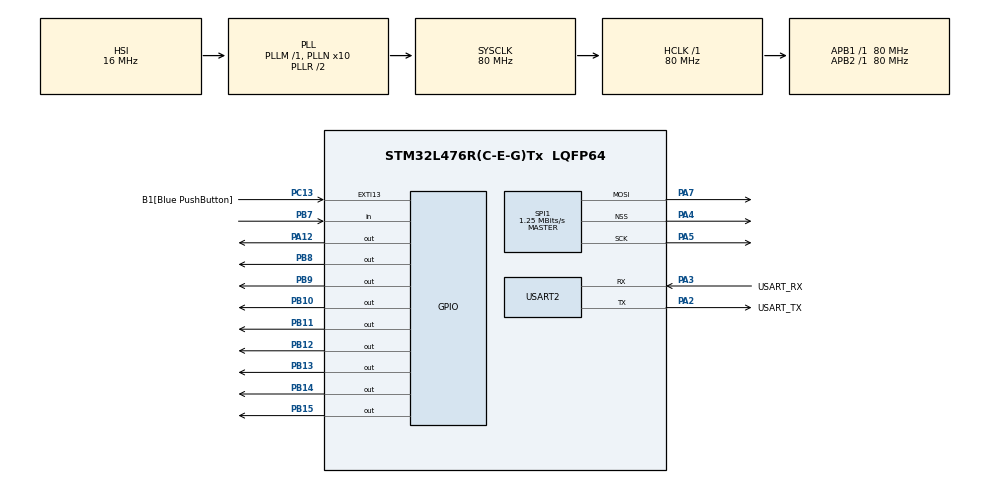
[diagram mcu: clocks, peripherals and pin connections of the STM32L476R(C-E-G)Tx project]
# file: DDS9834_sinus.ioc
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Mcu.Family=STM32L4
Mcu.Name=STM32L476R(C-E-G)Tx
Mcu.Package=LQFP64
NVIC.EXTI15_10_IRQn=true\:0\:0\:false\:false\:true\:true\:true
NVIC.PriorityGroup=NVIC_PRIORITYGROUP_4
PA12.Signal=GPIO_Output
PA13\ (JTMS-SWDIO).GPIO_Label=TMS
PA13\ (JTMS-SWDIO).Mode=Serial_Wire
PA13\ (JTMS-SWDIO).Signal=SYS_JTMS-SWDIO
PA14\ (JTCK-SWCLK).GPIO_Label=TCK
PA14\ (JTCK-SWCLK).Mode=Serial_Wire
PA14\ (JTCK-SWCLK).Signal=SYS_JTCK-SWCLK
PA2.GPIO_Label=USART_TX
PA2.GPIO_Mode=GPIO_MODE_AF_PP
PA2.GPIO_PuPd=GPIO_NOPULL
PA2.GPIO_Speed=GPIO_SPEED_FREQ_VERY_HIGH
PA2.Mode=Asynchronous
PA2.Signal=USART2_TX
PA3.GPIO_Label=USART_RX
PA3.GPIO_Mode=GPIO_MODE_AF_PP
PA3.GPIO_PuPd=GPIO_NOPULL
PA3.GPIO_Speed=GPIO_SPEED_FREQ_VERY_HIGH
PA3.Mode=Asynchronous
PA3.Signal=USART2_RX
PA4.Mode=NSS_Signal_Hard_Output
PA4.Signal=SPI1_NSS
PA5.Mode=TX_Only_Simplex_Unidirect_Master
PA5.Signal=SPI1_SCK
PA7.Mode=TX_Only_Simplex_Unidirect_Master
PA7.Signal=SPI1_MOSI
PB10.Signal=GPIO_Output
PB11.Signal=GPIO_Output
PB12.GPIO_PuPd=GPIO_NOPULL
PB12.PinState=GPIO_PIN_SET
PB12.Signal=GPIO_Output
PB13.Signal=GPIO_Output
PB14.Signal=GPIO_Output
PB15.Signal=GPIO_Output
PB3\ (JTDO-TRACESWO).GPIO_Label=SWO
PB3\ (JTDO-TRACESWO).Signal=SYS_JTDO-SWO
PB7.Signal=GPIO_Input
PB8.Signal=GPIO_Output
PB9.Signal=GPIO_Output
PC13.GPIO_Label=B1[Blue PushButton]
PC13.Signal=GPXTI13
PC14-OSC32_IN\ (PC14).Mode=LSE-External-Oscillator
PC14-OSC32_IN\ (PC14).Signal=RCC_OSC32_IN
PC15-OSC32_OUT\ (PC15).Mode=LSE-External-Oscillator
PC15-OSC32_OUT\ (PC15).Signal=RCC_OSC32_OUT
PH0-OSC_IN\ (PH0).Signal=RCC_OSC_IN
PH1-OSC_OUT\ (PH1).Signal=RCC_OSC_OUT
ProjectManager.HeapSize=0x200
ProjectManager.StackSize=0x400
ProjectManager.TargetToolchain=STM32CubeIDE
RCC.ADCFreq_Value=64000000
RCC.AHBFreq_Value=80000000
RCC.APB1Freq_Value=80000000
RCC.APB1TimFreq_Value=80000000
RCC.APB2Freq_Value=80000000
RCC.APB2TimFreq_Value=80000000
RCC.CortexFreq_Value=80000000
RCC.HCLKFreq_Value=80000000
RCC.HSE_VALUE=8000000
RCC.HSI_VALUE=16000000
RCC.MSI_VALUE=4000000
RCC.PLLN=10
RCC.PLLSourceVirtual=RCC_PLLSOURCE_HSI
RCC.PREFETCH_ENABLE=1
RCC.SYSCLKFreq_VALUE=80000000
RCC.SYSCLKSource=RCC_SYSCLKSOURCE_PLLCLK
RCC.USBFreq_Value=64000000
RCC.VCOOutputFreq_Value=160000000
SPI1.BaudRatePrescaler=SPI_BAUDRATEPRESCALER_64
SPI1.CLKPhase=SPI_PHASE_1EDGE
SPI1.CLKPolarity=SPI_POLARITY_HIGH
SPI1.CalculateBaudRate=1.25 MBits/s
SPI1.DataSize=SPI_DATASIZE_16BIT
SPI1.Direction=SPI_DIRECTION_2LINES
SPI1.Mode=SPI_MODE_MASTER
SPI1.VirtualNSS=VM_NSSHARD
SPI1.VirtualType=VM_MASTER
TIM6.Period=665
TIM6.Prescaler=1
USART2.VirtualMode-Asynchronous=VM_ASYNC
VP_TIM6_VS_ClockSourceINT.Mode=Enable_Timer
board=NUCLEO-L476RG

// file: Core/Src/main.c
/* USER CODE BEGIN Header */
/**
  ******************************************************************************
  * @file           : main.c
  * @brief          : Main program body
  ******************************************************************************
  * @attention
  *
  * <h2><center>&copy; Copyright (c) 2021 STMicroelectronics.
  * All rights reserved.</center></h2>
  *
  * This software component is licensed by ST under BSD 3-Clause license,
  * the "License"; You may not use this file except in compliance with the
  * License. You may obtain a copy of the License at:
  *                        opensource.org/licenses/BSD-3-Clause
  *
  ******************************************************************************
  */
/* USER CODE END Header */
#include "main.h"

/* USER CODE BEGIN Includes */

#include "math.h"

/* USER CODE END Includes */

SPI_HandleTypeDef hspi1;

TIM_HandleTypeDef htim6;

UART_HandleTypeDef huart2;

/* USER CODE BEGIN PV */

//int led = GPIO_PIN_5;
//int AD_FSYNC = GPIO_PIN_12; //FSYNK
//int AD_SDA = GPIO_PIN_10;
//int AD_SCLK = GPIO_PIN_11;

//SPI cable  : SDA to PA7 MOSI; CLK to PA5 SCK and FSY to PA5 SSEL
int AD_reset = GPIO_PIN_9;
int AD_FSEL = GPIO_PIN_8; // FST set a pin

int AD_PSK_sel = GPIO_PIN_7; //PB7

float AD_Crystal = 75000000.0; // 75MHz
int SINE = 0x2000;
int SQUARE = 0x2020;
int TRIANGLE = 0x2002;

float AD_FMult = 0.0;

long Freq = 2000;

int Sensor = 5005;

// manchester et BPSK variable
// Clock on GPIOA pin 12 and Data on GPIOA pin 11
int Data = 0xA6;  // data for Manchester et bpsk test
int BPSK = 0;
uint8_t Is_First_Captured = 0; // est-ce que c'est la 1er valeure capture ? 0=no , 1 = yes
int pointer = 0x80; // for manchester code
int debug=0;
int count = 0;

/* USER CODE END PV */

void SystemClock_Config(void);
static void MX_GPIO_Init(void);
static void MX_USART2_UART_Init(void);
static void MX_SPI1_Init(void);
static void MX_TIM6_Init(void);
/* USER CODE BEGIN PFP */
//void UpdateDDS (int);
void UpdateFreq(long,int);

/* USER CODE END PFP */

int main(void)
{

  /* MCU Configuration--------------------------------------------------------*/

  /* Reset of all peripherals, Initializes the Flash interface and the Systick. */
  HAL_Init();

  /* Configure the system clock */
  SystemClock_Config();

  /* Initialize all configured peripherals */
  MX_GPIO_Init();
  MX_USART2_UART_Init();
  MX_SPI1_Init();
  MX_TIM6_Init();
  /* USER CODE BEGIN 2 */
  /*
  HAL_GPIO_WritePin(GPIOB, AD_FSYNC, GPIO_PIN_SET);
  HAL_GPIO_WritePin(GPIOB, AD_SDA, GPIO_PIN_RESET);
  HAL_GPIO_WritePin(GPIOB, AD_SCLK, GPIO_PIN_SET);
  HAL_GPIO_WritePin(GPIOB, AD_FSEL, GPIO_PIN_RESET);

  //setup code
  UpdateDDS (0x2100);
  UpdateDDS (0x50C7);
  UpdateDDS (0x4000);
  UpdateDDS (0xC000);
  UpdateDDS (0x2000);

	HAL_Delay(500);

  UpdateFreq(Freq,SINE);
*/

  UpdateFreq(Freq,SINE);
  HAL_TIM_Base_Start_IT(&htim6);

  /* USER CODE END 2 */

  /* Infinite loop */
  while (1)
  {

  }
}

void SystemClock_Config(void)
{
  RCC_OscInitTypeDef RCC_OscInitStruct = {0};
  RCC_ClkInitTypeDef RCC_ClkInitStruct = {0};
  RCC_PeriphCLKInitTypeDef PeriphClkInit = {0};

  /** Initializes the RCC Oscillators according to the specified parameters
  * in the RCC_OscInitTypeDef structure.
  */
  RCC_OscInitStruct.OscillatorType = RCC_OSCILLATORTYPE_HSI;
  RCC_OscInitStruct.HSIState = RCC_HSI_ON;
  RCC_OscInitStruct.HSICalibrationValue = RCC_HSICALIBRATION_DEFAULT;
  RCC_OscInitStruct.PLL.PLLState = RCC_PLL_ON;
  RCC_OscInitStruct.PLL.PLLSource = RCC_PLLSOURCE_HSI;
  RCC_OscInitStruct.PLL.PLLM = 1;
  RCC_OscInitStruct.PLL.PLLN = 10;
  RCC_OscInitStruct.PLL.PLLP = RCC_PLLP_DIV7;
  RCC_OscInitStruct.PLL.PLLQ = RCC_PLLQ_DIV2;
  RCC_OscInitStruct.PLL.PLLR = RCC_PLLR_DIV2;
  if (HAL_RCC_OscConfig(&RCC_OscInitStruct) != HAL_OK)
  {
    Error_Handler();
  }
  /** Initializes the CPU, AHB and APB buses clocks
  */
  RCC_ClkInitStruct.ClockType = RCC_CLOCKTYPE_HCLK|RCC_CLOCKTYPE_SYSCLK
                              |RCC_CLOCKTYPE_PCLK1|RCC_CLOCKTYPE_PCLK2;
  RCC_ClkInitStruct.SYSCLKSource = RCC_SYSCLKSOURCE_PLLCLK;
  RCC_ClkInitStruct.AHBCLKDivider = RCC_SYSCLK_DIV1;
  RCC_ClkInitStruct.APB1CLKDivider = RCC_HCLK_DIV1;
  RCC_ClkInitStruct.APB2CLKDivider = RCC_HCLK_DIV1;

  if (HAL_RCC_ClockConfig(&RCC_ClkInitStruct, FLASH_LATENCY_4) != HAL_OK)
  {
    Error_Handler();
  }
  PeriphClkInit.PeriphClockSelection = RCC_PERIPHCLK_USART2;
  PeriphClkInit.Usart2ClockSelection = RCC_USART2CLKSOURCE_PCLK1;
  if (HAL_RCCEx_PeriphCLKConfig(&PeriphClkInit) != HAL_OK)
  {
    Error_Handler();
  }
  /** Configure the main internal regulator output voltage
  */
  if (HAL_PWREx_ControlVoltageScaling(PWR_REGULATOR_VOLTAGE_SCALE1) != HAL_OK)
  {
    Error_Handler();
  }
}

static void MX_SPI1_Init(void)
{

  /* SPI1 parameter configuration*/
  hspi1.Instance = SPI1;
  hspi1.Init.Mode = SPI_MODE_MASTER;
  hspi1.Init.Direction = SPI_DIRECTION_2LINES;
  hspi1.Init.DataSize = SPI_DATASIZE_16BIT;
  hspi1.Init.CLKPolarity = SPI_POLARITY_HIGH;
  hspi1.Init.CLKPhase = SPI_PHASE_1EDGE;
  hspi1.Init.NSS = SPI_NSS_HARD_OUTPUT;
  hspi1.Init.BaudRatePrescaler = SPI_BAUDRATEPRESCALER_64;
  hspi1.Init.FirstBit = SPI_FIRSTBIT_MSB;
  hspi1.Init.TIMode = SPI_TIMODE_DISABLE;
  hspi1.Init.CRCCalculation = SPI_CRCCALCULATION_DISABLE;
  hspi1.Init.CRCPolynomial = 7;
  hspi1.Init.CRCLength = SPI_CRC_LENGTH_DATASIZE;
  hspi1.Init.NSSPMode = SPI_NSS_PULSE_ENABLE;
  if (HAL_SPI_Init(&hspi1) != HAL_OK)
  {
    Error_Handler();
  }

}

static void MX_TIM6_Init(void)
{

  TIM_MasterConfigTypeDef sMasterConfig = {0};

  htim6.Instance = TIM6;
  htim6.Init.Prescaler = 1;
  htim6.Init.CounterMode = TIM_COUNTERMODE_UP;
  htim6.Init.Period = 665;
  htim6.Init.AutoReloadPreload = TIM_AUTORELOAD_PRELOAD_DISABLE;
  if (HAL_TIM_Base_Init(&htim6) != HAL_OK)
  {
    Error_Handler();
  }
  sMasterConfig.MasterOutputTrigger = TIM_TRGO_RESET;
  sMasterConfig.MasterSlaveMode = TIM_MASTERSLAVEMODE_DISABLE;
  if (HAL_TIMEx_MasterConfigSynchronization(&htim6, &sMasterConfig) != HAL_OK)
  {
    Error_Handler();
  }

}

static void MX_USART2_UART_Init(void)
{

  huart2.Instance = USART2;
  huart2.Init.BaudRate = 115200;
  huart2.Init.WordLength = UART_WORDLENGTH_8B;
  huart2.Init.StopBits = UART_STOPBITS_1;
  huart2.Init.Parity = UART_PARITY_NONE;
  huart2.Init.Mode = UART_MODE_TX_RX;
  huart2.Init.HwFlowCtl = UART_HWCONTROL_NONE;
  huart2.Init.OverSampling = UART_OVERSAMPLING_16;
  huart2.Init.OneBitSampling = UART_ONE_BIT_SAMPLE_DISABLE;
  huart2.AdvancedInit.AdvFeatureInit = UART_ADVFEATURE_NO_INIT;
  if (HAL_UART_Init(&huart2) != HAL_OK)
  {
    Error_Handler();
  }

}

static void MX_GPIO_Init(void)
{
  GPIO_InitTypeDef GPIO_InitStruct = {0};

  /* GPIO Ports Clock Enable */
  __HAL_RCC_GPIOC_CLK_ENABLE();
  __HAL_RCC_GPIOH_CLK_ENABLE();
  __HAL_RCC_GPIOA_CLK_ENABLE();
  __HAL_RCC_GPIOB_CLK_ENABLE();

  /*Configure GPIO pin Output Level */
  HAL_GPIO_WritePin(GPIOB, GPIO_PIN_10|GPIO_PIN_11|GPIO_PIN_13|GPIO_PIN_14
                          |GPIO_PIN_15|GPIO_PIN_8|GPIO_PIN_9, GPIO_PIN_RESET);

  /*Configure GPIO pin Output Level */
  HAL_GPIO_WritePin(GPIOB, GPIO_PIN_12, GPIO_PIN_SET);

  /*Configure GPIO pin Output Level */
  HAL_GPIO_WritePin(GPIOA, GPIO_PIN_12, GPIO_PIN_RESET);

  /*Configure GPIO pin : B1_Pin */
  GPIO_InitStruct.Pin = B1_Pin;
  GPIO_InitStruct.Mode = GPIO_MODE_IT_RISING;
  GPIO_InitStruct.Pull = GPIO_NOPULL;
  HAL_GPIO_Init(B1_GPIO_Port, &GPIO_InitStruct);

  /*Configure GPIO pins : PB10 PB11 PB12 PB13
                           PB14 PB15 PB8 PB9 */
  GPIO_InitStruct.Pin = GPIO_PIN_10|GPIO_PIN_11|GPIO_PIN_12|GPIO_PIN_13
                          |GPIO_PIN_14|GPIO_PIN_15|GPIO_PIN_8|GPIO_PIN_9;
  GPIO_InitStruct.Mode = GPIO_MODE_OUTPUT_PP;
  GPIO_InitStruct.Pull = GPIO_NOPULL;
  GPIO_InitStruct.Speed = GPIO_SPEED_FREQ_LOW;
  HAL_GPIO_Init(GPIOB, &GPIO_InitStruct);

  /*Configure GPIO pin : PA12 */
  GPIO_InitStruct.Pin = GPIO_PIN_12;
  GPIO_InitStruct.Mode = GPIO_MODE_OUTPUT_PP;
  GPIO_InitStruct.Pull = GPIO_NOPULL;
  GPIO_InitStruct.Speed = GPIO_SPEED_FREQ_LOW;
  HAL_GPIO_Init(GPIOA, &GPIO_InitStruct);

  /*Configure GPIO pin : PB7 */
  GPIO_InitStruct.Pin = GPIO_PIN_7;
  GPIO_InitStruct.Mode = GPIO_MODE_INPUT;
  GPIO_InitStruct.Pull = GPIO_NOPULL;
  HAL_GPIO_Init(GPIOB, &GPIO_InitStruct);

  /* EXTI interrupt init*/
  HAL_NVIC_SetPriority(EXTI15_10_IRQn, 0, 0);
  HAL_NVIC_EnableIRQ(EXTI15_10_IRQn);

}

/* USER CODE BEGIN 4 */

/*
void UpdateDDS( int Data)
{
	int pointer = 0x8000;
	HAL_GPIO_WritePin(GPIOB, AD_FSYNC, GPIO_PIN_RESET);
	for (int i = 0;i<16;i++){
		if ((Data & pointer) > 0) { HAL_GPIO_WritePin(GPIOB, AD_SDA, GPIO_PIN_SET);	}
		else {HAL_GPIO_WritePin(GPIOB, AD_SDA, GPIO_PIN_RESET);}
		HAL_GPIO_WritePin(GPIOB, AD_SCLK, GPIO_PIN_RESET);
		HAL_GPIO_WritePin(GPIOB, AD_SCLK, GPIO_PIN_SET);
		pointer = pointer >> 1;
	}
	HAL_GPIO_WritePin(GPIOB, AD_FSYNC, GPIO_PIN_SET);

}

*/

void UpdateFreq(long Freq, int Wave)
{

	int Reg1 = 0x2100;
	int Reg2 = 0xC000;
	AD_FMult = pow(2,28) / AD_Crystal ;
	long FTW = AD_FMult*Freq ;
	if (Wave == SQUARE) FTW = FTW <<1 ;
	int MSB = (int) ((FTW & 0xFFFC000) >> 14);
	int LSB = (int) (FTW & 0x3FFF);

	LSB |= 0x4000;
	MSB |= 0x4000;
	HAL_SPI_Transmit(&hspi1, (uint8_t*)&Reg1, 1, 100);
	HAL_SPI_Transmit(&hspi1, (uint8_t*)&LSB, 1, 100);
	HAL_SPI_Transmit(&hspi1, (uint8_t*)&MSB, 1, 100);
	HAL_SPI_Transmit(&hspi1, (uint8_t*)&Reg2, 1, 100);
	HAL_SPI_Transmit(&hspi1, (uint8_t*)&Wave, 1, 100);

}
void HAL_GPIO_EXTI_Callback(uint16_t GPIO_Pin)
{

	if (GPIO_Pin == B1_Pin)
		{
		  if ( Freq < 10000){Freq = Freq + 1000;}
		  else if (Freq >= 10000 && Freq < 100000){Freq = Freq + 10000;}
		  else if (Freq >= 100000 && Freq < 1000000){Freq = Freq + 100000;}
		  else {Freq = 1000;}

		  UpdateFreq(Freq,SINE);

		  // a modifier en fixant la frequence eventuellement en fonction d'une IO
		  if (AD_PSK_sel == RESET )
		  {
				BPSK = 1;
		  }

//		  spitx[0]=0x00;
//		  spitx[1]=0x21;
//		  HAL_SPI_Transmit(&hspi1, spitx, 1, 100);
//		  spitx[0]=0xC7;
//		  spitx[1]=0x50;
//		  HAL_SPI_Transmit(&hspi1, spitx, 1, 100);
//		  //freq
//		  spitx[0]=0xC7;
//		  spitx[1]=0x10;
//		  HAL_SPI_Transmit(&hspi1, spitx, 1, 100);

//		  spitx[0]=0x00;
//		  spitx[1]=0x40;
//		  HAL_SPI_Transmit(&hspi1, spitx, 1, 100);
//		  spitx[0]=0x00;
//		  spitx[1]=0x00;
//		  HAL_SPI_Transmit(&hspi1, spitx, 1, 100);

//		  spitx[0]=0x00;
//		  spitx[1]=0x20;
//		  HAL_SPI_Transmit(&hspi1, spitx, 1, 100);
//	}
//	else{
//		__NOP();
	}
 }

void HAL_TIM_PeriodElapsedCallback(TIM_HandleTypeDef *htim)
{
  // Check which version of the timer triggered this callback and toggle LED
  if (htim == &htim6 )
  {

    HAL_GPIO_TogglePin(GPIOA, GPIO_PIN_12);

  //  Manchester

    if (BPSK == 1){
    		count = count +1;
    	debug = Data & pointer;
    	if ((Data & pointer) > 0) {
    		if (count == 1){HAL_GPIO_WritePin(GPIOA,GPIO_PIN_11, GPIO_PIN_SET);

    		}

    		else {
    			HAL_GPIO_WritePin(GPIOA, GPIO_PIN_11, GPIO_PIN_RESET);
				count = 0;
				pointer = pointer >> 1;}
    		}
    	else if((Data & pointer) == 0) {
    		if (count == 1){HAL_GPIO_WritePin(GPIOA,GPIO_PIN_11, GPIO_PIN_RESET);

    		}
			else {
				HAL_GPIO_WritePin(GPIOA,GPIO_PIN_11, GPIO_PIN_SET);
				count = 0;
				pointer = pointer >> 1;}
    		}

    	if (pointer == 0x00){
    		pointer = 0x80;
    		BPSK = 0;
    		HAL_GPIO_WritePin(GPIOA,GPIO_PIN_11, GPIO_PIN_RESET);
    	}

    }

  }
}

/* USER CODE END 4 */

void Error_Handler(void)
{
  __disable_irq();
  while (1)
  {
  }
}

/************************ (C) COPYRIGHT STMicroelectronics *****END OF FILE****/
